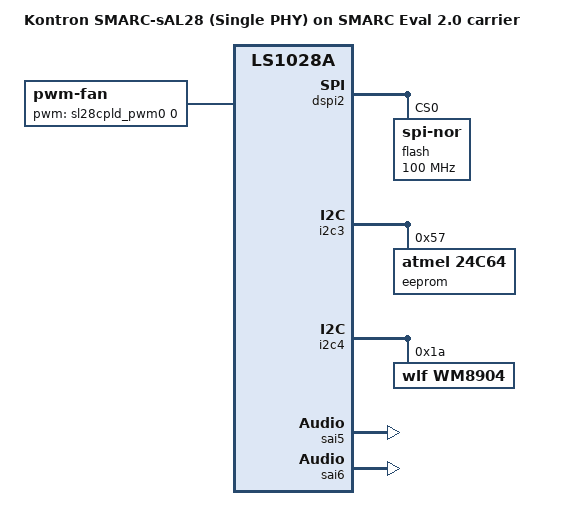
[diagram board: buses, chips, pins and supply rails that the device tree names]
// SPDX-License-Identifier: GPL-2.0+
/*
 * Device Tree file for the Kontron SMARC-sAL28 board on a SMARC Eval 2.0
 * carrier (ADS2).
 *
 * Copyright (C) 2019 Michael Walle <michael@walle.cc>
 *
 */

/dts-v1/;

#include <dt-bindings/clock/fsl,qoriq-clockgen.h>
#include "fsl-ls1028a-kontron-sl28-var3.dts"

/ {
	model = "Kontron SMARC-sAL28 (Single PHY) on SMARC Eval 2.0 carrier";
	compatible = "kontron,sl28-var3-ads2", "kontron,sl28-var3",
		     "kontron,sl28", "fsl,ls1028a";

	pwm-fan {
		compatible = "pwm-fan";
		cooling-min-state = <0>;
		cooling-max-state = <3>;
		#cooling-cells = <2>;
		pwms = <&sl28cpld_pwm0 0 4000000>;
		cooling-levels = <1 128 192 255>;
	};

	sound {
		#address-cells = <1>;
		#size-cells = <0>;
		compatible = "simple-audio-card";
		simple-audio-card,widgets =
			"Headphone", "Headphone Jack",
			"Line", "Line Out Jack",
			"Microphone", "Microphone Jack",
			"Line", "Line In Jack";
		simple-audio-card,routing =
			"Line Out Jack", "LINEOUTR",
			"Line Out Jack", "LINEOUTL",
			"Headphone Jack", "HPOUTR",
			"Headphone Jack", "HPOUTL",
			"IN1L", "Line In Jack",
			"IN1R", "Line In Jack",
			"Microphone Jack", "MICBIAS",
			"IN2L", "Microphone Jack",
			"IN2R", "Microphone Jack";
		simple-audio-card,mclk-fs = <256>;

		simple-audio-card,dai-link@0 {
			reg = <0>;
			bitclock-master = <&dailink0_master>;
			frame-master = <&dailink0_master>;
			format = "i2s";

			cpu {
				sound-dai = <&sai6>;
			};

			dailink0_master: codec {
				sound-dai = <&wm8904>;
			};
		};

		simple-audio-card,dai-link@1 {
			reg = <1>;
			bitclock-master = <&dailink1_master>;
			frame-master = <&dailink1_master>;
			format = "i2s";

			cpu {
				sound-dai = <&sai5>;
			};

			dailink1_master: codec {
				sound-dai = <&wm8904>;
			};
		};
	};
};

&dspi2 {
	flash@0 {
		compatible = "jedec,spi-nor";
		m25p,fast-read;
		spi-max-frequency = <100000000>;
		reg = <0>;
	};
};

&i2c3 {
	eeprom@57 {
		compatible = "atmel,24c64";
		reg = <0x57>;
		pagesize = <32>;
	};
};

&i2c4 {
	status = "okay";

	wm8904: audio-codec@1a {
		#sound-dai-cells = <0>;
		compatible = "wlf,wm8904";
		reg = <0x1a>;
		clocks = <&mclk>;
		clock-names = "mclk";
		assigned-clocks = <&mclk>;
		assigned-clock-rates = <1250000>;
	};
};

&sai5 {
	status = "okay";
};

&sai6 {
	status = "okay";
};

&soc {
	mclk: clock-mclk@f130080 {
		compatible = "fsl,vf610-sai-clock";
		reg = <0x0 0xf130080 0x0 0x80>;
		clocks = <&clockgen QORIQ_CLK_PLATFORM_PLL
				    QORIQ_CLK_PLL_DIV(2)>;
		#clock-cells = <0>;
	};
};
